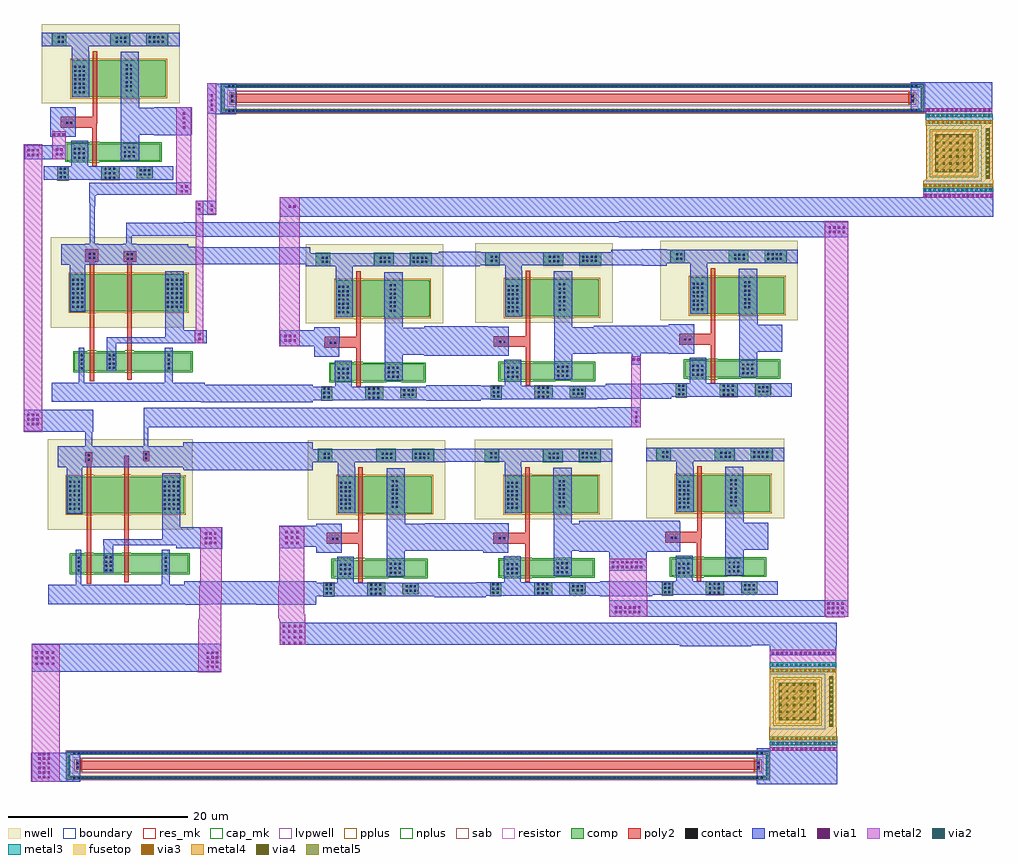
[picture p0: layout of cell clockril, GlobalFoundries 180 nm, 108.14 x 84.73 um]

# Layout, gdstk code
from math import pi, radians
import gdstk
lib = gdstk.Library(unit=1e-6, precision=1e-09)
def R(c, l, rs):  # rectangles x0, y0, x1, y1
    for r in rs: c.add(gdstk.rectangle(r[:2], r[2:], *l))
def A(c, l, x, y, w, h, nx, ny, dx, dy):  # array of equal rectangles
    R(c, l, [(x+i*dx, y+j*dy, x+i*dx+w, y+j*dy+h) for i in range(nx) for j in range(ny)])
boundary = (0, 0)
nwell = (21, 0)
comp = (22, 0)
poly2 = (30, 0)
pplus = (31, 0)
nplus = (32, 0)
contact = (33, 0)
metal1 = (34, 0)
via1 = (35, 0)
metal2 = (36, 0)
via2 = (38, 0)
via3 = (40, 0)
via4 = (41, 0)
metal3 = (42, 0)
metal4 = (46, 0)
sab = (49, 0)
resistor = (62, 0)
fusetop = (75, 0)
metal5 = (81, 0)
res_mk = (110, 5)
cap_mk = (117, 5)
lvpwell = (204, 0)

ppolyf_u_1k_ymwph8 = lib.new_cell('ppolyf_u_1k_YMWPH8')
R(ppolyf_u_1k_ymwph8, boundary, [(-1.38,-38.99,1.38,38.99)])
R(ppolyf_u_1k_ymwph8, comp, [(-1.56,-39.17,1.56,-38.81), (-1.56,-38.81,-1.2,38.81), (1.2,-38.81,1.56,38.81), (-1.56,38.81,1.56,39.17)])
R(ppolyf_u_1k_ymwph8, poly2, [(-0.5,-38.11,0.5,38.11)])
R(ppolyf_u_1k_ymwph8, pplus, [(-1.58,-39.19,1.58,-38.79), (-1.58,-38.79,-1.17,-38.685), (1.17,-38.79,1.58,-38.685), (-1.59,-38.685,-1.17,38.685), (1.17,-38.685,1.59,38.685), (-0.7,-38.31,0.7,-37.5), (-0.7,37.5,0.7,38.31), (-1.58,38.685,-1.17,38.79), (1.17,38.685,1.58,38.79), (-1.58,38.79,1.58,39.19)])
A(ppolyf_u_1k_ymwph8, contact, -1.49, -38.415, 0.22, 0.22, 1, 164, 0, 0.47)
A(ppolyf_u_1k_ymwph8, contact, 1.27, -38.415, 0.22, 0.22, 1, 164, 0, 0.47)
R(ppolyf_u_1k_ymwph8, contact, [(-0.345,-38.04,-0.125,-37.82), (0.125,-38.04,0.345,-37.82), (-0.345,37.82,-0.125,38.04), (0.125,37.82,0.345,38.04)])
R(ppolyf_u_1k_ymwph8, metal1, [(-1.495,-39.105,1.495,-38.875), (-1.495,-38.875,-1.265,38.875), (1.265,-38.875,1.495,38.875), (-0.49,-38.045,0.49,-37.815), (-0.49,37.815,0.49,38.045), (-1.495,38.875,1.495,39.105)])
R(ppolyf_u_1k_ymwph8, sab, [(-0.78,-37.6,0.78,37.6), (-0.78,-37.5,0.78,37.5)])
R(ppolyf_u_1k_ymwph8, resistor, [(-0.9,-38.51,0.9,38.51)])
R(ppolyf_u_1k_ymwph8, res_mk, [(-0.78,-37.5,0.78,37.5), (-0.5,-37.5,0.5,37.5)])
R(ppolyf_u_1k_ymwph8, lvpwell, [(-1.68,-39.29,1.68,39.29)])

norgate = lib.new_cell('norgate')
R(norgate, nwell, [(-5.81,-3.95,10.4,6.14)])
R(norgate, comp, [(-3.16,-8.745,9.87,-6.715), (-3.61,-2.1,9.42,2)])
R(norgate, poly2, [(-1.45,-9.945,-0.95,4.19), (2.74,-9.76,3.24,4.34)])
R(norgate, pplus, [(-1.68,-2.33,-0.72,-2.26), (2.51,-2.33,3.47,-2.26), (-3.77,-2.26,9.58,2.16), (-1.68,2.16,-0.72,2.23), (2.51,2.16,3.47,2.23)])
R(norgate, nplus, [(-1.68,-8.975,-0.72,-8.905), (2.51,-8.975,3.47,-8.905), (-3.32,-8.905,10.03,-6.555), (-1.68,-6.555,-0.72,-6.485), (2.51,-6.555,3.47,-6.485)])
A(norgate, contact, -2.465, -8.565, 0.22, 0.22, 1, 4, 0, 0.47)
A(norgate, contact, 7.255, -8.565, 0.22, 0.22, 1, 4, 0, 0.47)
A(norgate, contact, 0.64, -8.54, 0.22, 0.22, 1, 4, 0, 0.47)
A(norgate, contact, 1.11, -8.54, 0.22, 0.22, 1, 4, 0, 0.47)
A(norgate, contact, -3.415, -1.71, 0.22, 0.22, 3, 7, 0.5, 0.5)
A(norgate, contact, 7.13, -1.71, 0.22, 0.22, 4, 7, 0.5, 0.5)
R(norgate, metal1, [(-5.71,-12.225,11.355,-10.09), (-2.66,-10.09,-2.05,-6.18), (6.92,-10.09,7.8,-6.18), (0.465,-8.73,1.49,-5.665), (0.415,-5.665,9.005,-5), (6.975,-5,9.005,2.34), (-3.66,-2.15,-1.95,3.055), (-4.66,3.055,9.5,5.35)])
norgate.add(gdstk.Label('ptype', (-3.5,-0.1), layer=22, texttype=0))
norgate.add(gdstk.Label('input1', (-1.2,4.19), layer=34, texttype=0))
norgate.add(gdstk.Label('vdd', (-3.6,4.19), layer=34, texttype=0))
norgate.add(gdstk.Label('input', (3,4.34), layer=34, texttype=0))
norgate.add(gdstk.Label('ntype', (2.1,-7.725), layer=22, texttype=0))
norgate.add(gdstk.Label('gnd', (2.35,-11.285), layer=34, texttype=0))
norgate.add(gdstk.Label('output', (9,-4.95), layer=34, texttype=0))

inverter = lib.new_cell('inverter')
R(inverter, nwell, [(9.345,-12.31,24.7,-3.455)])
R(inverter, comp, [(11.095,-20.895,12.31,-19.335), (15.99,-20.845,17.99,-19.335), (19.92,-20.645,21.69,-19.385), (12.615,-18.725,14.49,-18.675), (12.115,-18.675,18.15,-18.625), (20.185,-18.675,22.56,-18.625), (12.115,-18.625,22.56,-16.825), (12.765,-16.825,14.34,-16.775), (18.4,-16.825,19.935,-16.775), (12.695,-11.635,14.62,-11.585), (18.11,-11.635,20.195,-11.585), (12.695,-11.585,23.155,-7.485), (10.495,-5.92,12.065,-4.455), (16.985,-5.92,19.16,-4.455), (20.995,-5.92,23.405,-4.455)])
R(inverter, poly2, [(14.99,-19.3,15.49,-15.02), (11.44,-15.02,15.49,-14.5), (11.44,-14.5,15.5,-14.355), (11.45,-14.355,15.5,-13.805), (15,-13.805,15.5,-6.505)])
R(inverter, pplus, [(11.075,-20.915,12.33,-19.315), (15.97,-20.865,18.01,-19.315), (19.9,-20.665,21.71,-19.365), (19.975,-19.365,21.685,-19.36), (14.77,-11.815,15.73,-11.795), (12.535,-11.795,15.73,-11.745), (17.95,-11.795,20.355,-11.745), (12.535,-11.745,23.315,-7.325), (14.77,-7.325,15.73,-7.255)])
R(inverter, nplus, [(14.76,-18.905,15.72,-18.885), (12.455,-18.885,15.72,-18.835), (11.955,-18.835,18.31,-18.785), (20.025,-18.835,22.72,-18.785), (11.955,-18.785,22.72,-16.665), (12.605,-16.665,15.72,-16.615), (18.24,-16.665,20.095,-16.615), (14.76,-16.615,15.72,-16.595), (10.475,-5.94,12.085,-4.435), (16.965,-5.94,19.18,-4.435), (20.975,-5.94,23.425,-4.435)])
A(inverter, contact, 16.33, -20.685, 0.22, 0.22, 3, 3, 0.5, 0.5)
A(inverter, contact, 11.33, -20.63, 0.22, 0.22, 1, 3, 0, 0.47)
A(inverter, contact, 11.8, -20.63, 0.22, 0.22, 1, 3, 0, 0.47)
A(inverter, contact, 20.25, -20.345, 0.22, 0.22, 3, 2, 0.47, 0.47)
A(inverter, contact, 12.915, -18.46, 0.22, 0.22, 3, 3, 0.5, 0.5)
A(inverter, contact, 18.505, -18.335, 0.22, 0.22, 3, 3, 0.5, 0.5)
A(inverter, contact, 12.975, -11.155, 0.22, 0.22, 3, 7, 0.47, 0.47)
A(inverter, contact, 18.705, -10.98, 0.22, 0.22, 1, 7, 0, 0.47)
A(inverter, contact, 19.175, -10.98, 0.22, 0.22, 1, 7, 0, 0.47)
A(inverter, contact, 17.59, -5.56, 0.22, 0.22, 3, 2, 0.47, 0.47)
A(inverter, contact, 21.285, -5.535, 0.22, 0.22, 4, 2, 0.47, 0.47)
R(inverter, contact, [(12.05,-14.55,12.27,-14.33), (12.52,-14.55,12.74,-14.33), (11.115,-5.535,11.335,-5.315), (11.585,-5.535,11.805,-5.315), (11.115,-5.065,11.335,-4.845), (11.585,-5.065,11.805,-4.845)])
R(inverter, metal1, [(11.095,-20.895,12.31,-20.845), (9.55,-20.845,24.01,-19.335), (12.65,-19.335,14.49,-19.035), (12.65,-19.035,14.485,-18.725), (12.615,-18.725,14.49,-16.45), (18.15,-18.675,20.185,-15.795), (10.295,-16.02,13.115,-14.5), (18.15,-15.795,22.94,-14.5), (10.295,-14.5,13.125,-14.355), (18.15,-14.5,22.95,-14.355), (10.305,-14.355,13.125,-12.755), (18.16,-14.355,22.95,-12.805), (18.16,-12.805,20.195,-11.65), (18.125,-11.65,20.195,-11.585), (12.695,-11.635,14.62,-6.505), (18.125,-11.585,20.16,-6.57), (12.695,-6.505,14.57,-5.92), (9.345,-5.92,24.7,-4.455)])
inverter.add(gdstk.Label('gnd', (23.54,-20.065), layer=34, texttype=0))

cap_mim_2p0ff_5bxvcr = lib.new_cell('cap_mim_2p0fF_5BXVCR')
R(cap_mim_2p0ff_5bxvcr, boundary, [(-3.7,-3.1,2.5,3.1)])
A(cap_mim_2p0ff_5bxvcr, via4, 3.04, -2.73, 0.26, 0.26, 1, 11, 0, 0.52)
A(cap_mim_2p0ff_5bxvcr, via4, -2.63, -2.03, 0.26, 0.26, 6, 6, 0.76, 0.76)
R(cap_mim_2p0ff_5bxvcr, metal4, [(-3.7,-3.1,3.7,3.1)])
R(cap_mim_2p0ff_5bxvcr, fusetop, [(-3.1,-2.5,1.9,2.5)])
R(cap_mim_2p0ff_5bxvcr, metal5, [(2.95,-2.815,3.39,2.815), (-2.7,-2.1,1.5,2.1)])
R(cap_mim_2p0ff_5bxvcr, cap_mk, [(-3.3,-2.7,2.1,2.7)])

clockril = lib.new_cell('clockril')
R(clockril, poly2, [(-51.94,-112.085,-51.19,-110.985), (-45.435,-111.94,-44.935,-111.905), (-45.5,-111.905,-44.8,-110.835), (-51.95,-89.745,-50.5,-88.345), (-47.67,-89.745,-46.27,-88.545)])
R(clockril, contact, [(-51.685,-111.9,-51.465,-111.68), (-45.295,-111.75,-45.075,-111.53), (-51.685,-111.43,-51.465,-111.21), (-45.295,-111.28,-45.075,-111.06), (-47.34,-89.49,-47.12,-89.27), (-46.87,-89.49,-46.65,-89.27), (-51.545,-89.39,-51.325,-89.17), (-51.075,-89.39,-50.855,-89.17), (-47.34,-89.02,-47.12,-88.8), (-46.87,-89.02,-46.65,-88.8), (-51.545,-88.92,-51.325,-88.7), (-51.075,-88.92,-50.855,-88.7)])
R(clockril, metal1, [(22.9,-147.95,31.9,-143.95), (-57.95,-147.7,-52.5,-144.45), (24.35,-143.95,31.9,-143.85), (-57.905,-135.445,-36.805,-135.4), (-57.905,-135.4,-36.8,-132.395), (24.35,-133.6,31.75,-132.5), (14.3,-132.58,22.3,-132.5), (14.3,-132.5,31.8,-132.45), (-30.25,-132.45,31.8,-130), (-57.905,-132.395,-36.805,-132.295), (-30.25,-130,22.3,-129.98), (-30.25,-129.98,14.65,-129.95), (-30.25,-129.95,-27.45,-129.9), (30.65,-129.35,32.7,-129.3), (6.45,-129.3,33.1,-127.45), (-40.75,-127.95,-38,-127.9), (-32.9,-127.95,-26.25,-127.9), (-40.9,-127.9,-26.2,-125.35), (-13.05,-127.15,-7.3,-125.5), (5.45,-127,11.25,-125.35), (6.45,-124.17,10.655,-122.085), (5.73,-122.085,10.655,-122.07), (3.1,-122.07,14.305,-118.58), (-14.05,-121.95,-6.65,-118.9), (-39.2,-121.7,-36.7,-121.67), (-41.8,-121.67,-36.7,-119.35), (-30.35,-121.65,-27.55,-121.52), (-30.35,-121.52,-25.645,-119.17), (-41.8,-119.35,-37.9,-119.32), (-30.35,-119.17,-27.55,-119.15), (-40.95,-112.97,-26.595,-112.87), (-41.05,-112.87,-26.595,-109.87), (-51.94,-112.085,-51.2,-108.905), (-11.8,-112.05,-8.05,-110.55), (-45.435,-111.91,-44.935,-111.905), (-45.5,-111.905,-44.8,-110.805), (-45.435,-110.805,-44.935,-109.05), (-45.435,-109.05,-44.95,-108.2), (-51.95,-108.905,-51.2,-108.655), (-58.79,-108.655,-51.05,-106.205), (-45.435,-108.2,10,-105.995), (-45.435,-105.995,-44.95,-105.985), (5.2,-105.995,10,-105.95), (-39,-105.4,-26.6,-103.45), (-13.95,-105.2,-7.85,-103.5), (6.05,-105,13.4,-103.3), (-29,-103.45,-26.6,-103.445), (8.955,-101.2,9.95,-99.9), (-14.15,-100.2,-7.1,-96.9), (4.75,-99.9,14.6,-96.85), (-30.235,-99.15,-27.285,-99.14), (-30.235,-99.14,-25.21,-97.7), (-41.15,-98.8,-38.395,-97.35), (-30.26,-97.7,-25.21,-97.35), (-27.21,-97.35,-25.21,-97.34), (-12.55,-90.25,-7.9,-88.6), (10.195,-90.15,12.845,-90.1), (6.7,-90.1,12.845,-88.4), (-40.6,-90.05,-39.3,-90), (-41.05,-90,-26.8,-89.4), (-51.95,-89.745,-50.5,-87.695), (-47.72,-89.745,-46.27,-87.745), (-41.15,-89.4,-26.8,-88.7), (-41.15,-88.7,-26.9,-88.1), (10.095,-88.4,12.845,-88.35), (-40.6,-88.1,-39.3,-88.05), (-47.37,-87.745,-46.77,-86.845), (-51.45,-87.695,-50.9,-83.55), (7.55,-87,33.1,-86.965), (-31.45,-86.965,33.1,-86.94), (-39.65,-86.94,33.1,-86.85), (-41.075,-86.85,33.1,-86.845), (-47.37,-86.845,33.1,-85.36), (-41,-85.36,33.1,-85.345), (-41,-85.345,-31.115,-85.34), (7.55,-85.345,33.1,-85.2), (-41,-85.34,-37.55,-85.3), (-31.61,-85.34,-31.115,-85.32), (-30.3,-84.7,49.25,-84.55), (-30.3,-84.55,49.3,-82.555), (-39.65,-84.5,-37.35,-82.9), (-51.45,-83.55,-50.85,-83.16), (-51.5,-83.16,-50.85,-82.365), (-30.3,-82.555,-28,-82.55), (38.2,-82.555,49.3,-82.55), (41.45,-82.55,49.3,-82.13), (-51.5,-82.365,-50.75,-82.235), (-51.5,-82.235,-40.125,-80.9), (-41.775,-80.9,-40.125,-80.885), (-58.715,-78.275,-54.15,-76.725), (-55.615,-75.7,-54.165,-75.4), (-44.255,-75.645,-40.13,-75.545), (-44.255,-75.545,-40.08,-72.485), (-37.6,-73.26,-35.11,-73.25), (-38.35,-73.25,-35.11,-69.865), (40.05,-73.03,49.15,-69.73), (-38.35,-69.865,-37.3,-69.85)])
A(clockril, via1, -57.2, -147.33, 0.26, 0.26, 3, 6, 0.52, 0.52)
A(clockril, via1, 24.64, -144.18, 0.26, 0.26, 14, 1, 0.52, 0)
A(clockril, via1, -38.43, -135.005, 0.26, 0.26, 3, 4, 0.52, 0.52)
A(clockril, via1, -57.54, -134.67, 0.26, 0.26, 4, 3, 0.62, 0.62)
A(clockril, via1, 24.565, -133.48, 0.26, 0.26, 14, 1, 0.52, 0)
A(clockril, via1, -29.96, -132.335, 0.26, 0.26, 4, 4, 0.62, 0.62)
A(clockril, via1, 30.775, -128.985, 0.26, 0.26, 4, 3, 0.52, 0.52)
A(clockril, via1, 7.07, -128.92, 0.26, 0.26, 6, 2, 0.52, 0.52)
A(clockril, via1, 6.755, -123.885, 0.26, 0.26, 7, 2, 0.52, 0.52)
A(clockril, via1, -29.65, -121.225, 0.26, 0.26, 3, 3, 0.62, 0.62)
A(clockril, via1, -38.625, -121.2, 0.26, 0.26, 3, 3, 0.52, 0.52)
A(clockril, via1, -58.44, -107.955, 0.26, 0.26, 3, 3, 0.52, 0.52)
A(clockril, via1, 9.345, -107.675, 0.26, 0.26, 1, 3, 0, 0.52)
A(clockril, via1, -29.77, -98.64, 0.26, 0.26, 3, 2, 0.52, 0.52)
A(clockril, via1, 30.915, -86.54, 0.26, 0.26, 4, 2, 0.52, 0.52)
A(clockril, via1, 41.655, -82.46, 0.26, 0.26, 15, 1, 0.52, 0)
A(clockril, via1, -58.415, -77.94, 0.26, 0.26, 3, 2, 0.52, 0.52)
A(clockril, via1, -55.54, -75.68, 0.26, 0.26, 3, 1, 0.52, 0)
A(clockril, via1, -41.075, -74.88, 0.26, 0.26, 1, 4, 0, 0.52)
A(clockril, via1, 41.94, -72.96, 0.26, 0.26, 14, 1, 0.52, 0)
A(clockril, via1, -37.98, -72.885, 0.26, 0.26, 1, 4, 0, 0.52)
R(clockril, via1, [(9.06,-100.75,9.32,-100.49), (9.58,-100.75,9.84,-100.49), (-39.35,-98.455,-39.09,-98.195), (-39.35,-97.935,-39.09,-97.675), (-37.98,-84.09,-37.72,-83.83), (-39.38,-83.995,-39.12,-83.735), (-29.28,-83.71,-29.02,-83.45), (-28.76,-83.71,-28.5,-83.45), (-37.98,-83.57,-37.72,-83.31), (-39.38,-83.475,-39.12,-83.215), (-41.32,-82,-41.06,-81.74), (-40.8,-82,-40.54,-81.74), (-41.32,-81.48,-41.06,-81.22), (-40.8,-81.48,-40.54,-81.22), (-55.24,-77.865,-54.98,-77.605), (-54.72,-77.865,-54.46,-77.605), (-55.24,-77.345,-54.98,-77.085), (-54.72,-77.345,-54.46,-77.085)])
R(clockril, metal2, [(-57.9,-147.7,-54.8,-138), (24.35,-144.25,31.9,-143.25), (-57.905,-138,-54.8,-137.9), (-57.905,-137.9,-54.805,-132.395), (-39.35,-135.5,-36.8,-129.6), (24.35,-134.9,31.75,-133), (-30.25,-132.45,-27.45,-129.75), (-30.35,-129.75,-27.45,-129.45), (-39.25,-129.6,-36.8,-127.5), (-30.45,-129.45,-27.45,-129.05), (30.65,-129.35,32.7,-129.3), (6.45,-129.3,10.675,-126.65), (30.505,-129.3,33.1,-87.5), (-30.45,-129.05,-27.55,-125.85), (-39.25,-127.5,-36.75,-125.85), (6.45,-126.65,10.65,-123.27), (-39.15,-125.85,-36.75,-119.35), (-30.35,-125.85,-27.55,-119.2), (6.45,-123.27,10.64,-122.82), (-58.84,-108.605,-56.74,-76.625), (8.905,-108.2,10,-106.2), (8.9,-106.2,10,-104.9), (8.905,-104.9,10,-100.25), (-30.335,-99.15,-28.06,-88.895), (-39.65,-98.79,-38.81,-98.7), (-39.75,-98.7,-38.81,-97.5), (-39.65,-97.5,-38.81,-84.4), (-30.31,-88.895,-28.06,-88.55), (-30.31,-88.55,-28.025,-85.3), (30.5,-87.5,33.1,-85.25), (-30.31,-85.3,-28.05,-85.15), (-30.3,-85.15,-28.05,-82.55), (-38.35,-84.45,-37.35,-69.8), (-39.65,-84.4,-38.8,-82.9), (41.45,-82.58,49.3,-81.53), (-41.805,-82.235,-40.125,-80.885), (-41.805,-80.885,-40.13,-72.485), (-55.65,-78.275,-54.15,-75.4), (-55.65,-75.4,-54.155,-75.2), (41.75,-73.63,49.15,-72.63)])
A(clockril, via2, 24.59, -143.58, 0.26, 0.26, 14, 1, 0.52, 0)
A(clockril, via2, 24.565, -134.78, 0.26, 0.26, 14, 1, 0.52, 0)
A(clockril, via2, 41.555, -81.86, 0.26, 0.26, 15, 1, 0.52, 0)
A(clockril, via2, 41.94, -73.56, 0.26, 0.26, 14, 1, 0.52, 0)
A(clockril, via3, 24.59, -142.98, 0.26, 0.26, 14, 1, 0.52, 0)
A(clockril, via3, 24.565, -135.43, 0.26, 0.26, 14, 1, 0.52, 0)
A(clockril, via3, 41.605, -81.36, 0.26, 0.26, 15, 1, 0.52, 0)
A(clockril, via3, 41.965, -74.26, 0.26, 0.26, 14, 1, 0.52, 0)
R(clockril, metal3, [(24.335,-143.65,31.885,-143.4), (24.335,-143.4,31.9,-142.85), (24.35,-142.85,31.9,-142.6), (24.35,-135.5,31.75,-134.4), (41.45,-81.93,49.3,-81.03), (41.75,-74.33,49.2,-73.23)])
R(clockril, metal4, [(24.3,-143.1,31.85,-142.45), (24.28,-142.45,31.85,-142.15), (24.28,-142.15,31.83,-141.65), (24.35,-135.9,31.75,-135.1), (41.45,-81.43,49.3,-80.68), (41.65,-80.68,49.3,-80.58), (41.8,-74.68,49.2,-74.58), (41.75,-74.58,49.2,-73.93)])
clockril.add(gdstk.Reference(ppolyf_u_1k_ymwph8, (-14.86,-145.87), rotation=3*pi/2))
clockril.add(gdstk.Reference(ppolyf_u_1k_ymwph8, (2.38,-71.52), rotation=3*pi/2))
clockril.add(gdstk.Reference(norgate, (-50,-93.13)))
clockril.add(gdstk.Reference(norgate, (-50.35,-115.67)))
clockril.add(gdstk.Reference(inverter, (1.255,-106.03)))
clockril.add(gdstk.Reference(inverter, (-17.895,-106.125)))
clockril.add(gdstk.Reference(inverter, (-36.495,-106.155)))
clockril.add(gdstk.Reference(inverter, (2.8,-83.955)))
clockril.add(gdstk.Reference(inverter, (-17.845,-84.205)))
clockril.add(gdstk.Reference(inverter, (-36.73,-84.3)))
clockril.add(gdstk.Reference(inverter, (-66.14,-59.765)))
clockril.add(gdstk.Reference(cap_mim_2p0ff_5bxvcr, (28.05,-138.75)))
clockril.add(gdstk.Reference(cap_mim_2p0ff_5bxvcr, (45.5,-77.63)))

lib.write_gds('clockril.gds')
